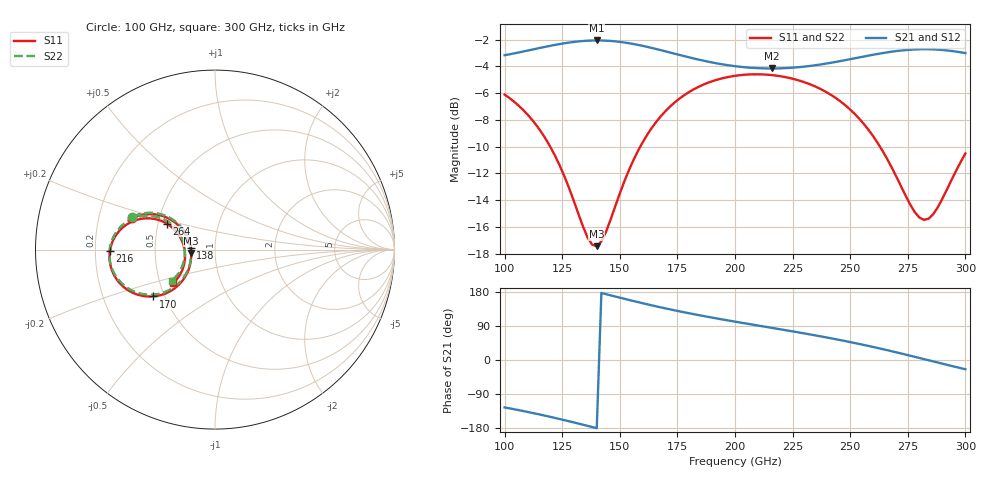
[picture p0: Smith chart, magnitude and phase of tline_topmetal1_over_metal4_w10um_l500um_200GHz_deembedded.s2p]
! Created with skrf 2.0.1 (http://scikit-rf.org).
# GHz S DB R 50.0
!freq dBS11 angS11 dBS21 angS21 dBS12 angS12 dBS22 angS22
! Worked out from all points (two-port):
!   101 points, 100 GHz to 300 GHz, reference 50 ohm
!   highest |S21| = -2.05 dB at 140 GHz (marker M1); lowest = -4.1 dB at 216 GHz (marker M2)
!   |S21| within 3 dB of the highest: start of sweep to end of sweep
!   lowest |S11| = -17.4 dB at 140 GHz (marker M3), VSWR 1.31, Z = 38.2 - j1.42 ohm
!   |S11| at or under -10 dB: 119.8 GHz to 158.9 GHz (39.09 GHz wide, 28.1 % of centre); 262.9 GHz to end of sweep
!   |S22| runs from -17.5 to -4.6 dB; largest |S21 - S12| = 7.8e-14
!   S11 on the Smith chart (normalised r, x): 100 GHz: 0.35, +0.16; 138 GHz: 0.76, +0.01; 170 GHz: 0.43, -0.28; 216 GHz: 0.26, -0.01; 264 GHz: 0.56, +0.18; 300 GHz: 0.59, -0.24
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100  -6.10 159.2  -3.16 -125.1  -3.16 -125.1  -6.11 158.3
118  -9.47 146.9  -2.52 -147.5  -2.52 -147.5  -9.48 145.7
126  -12.24 146.5  -2.26 -158.8  -2.26 -158.8  -12.26 145.2
134  -15.97 159.9  -2.09 -170.7  -2.09 -170.7  -16.00 158.5
138  -17.33 177.1  -2.06 -176.9  -2.06 -176.9  -17.37 175.8
140  -17.45 -172.2  -2.05 -180.0  -2.05 -180.0  -17.49 -173.5
144  -16.38 -153.2  -2.07 173.8  -2.07 173.8  -16.41 -154.5
152  -12.59 -137.0  -2.20 161.5  -2.20 161.5  -12.60 -138.3
160  -9.65 -136.7  -2.46 149.7  -2.46 149.7  -9.66 -138.1
168  -7.69 -141.3  -2.79 138.6  -2.79 138.6  -7.69 -142.8
170  -7.31 -142.8  -2.87 136.0  -2.87 136.0  -7.32 -144.3
184  -5.54 -154.0  -3.48 118.7  -3.48 118.7  -5.54 -155.7
200  -4.70 -166.8  -3.98 101.2  -3.98 101.2  -4.70 -168.7
216  -4.64 -179.1  -4.15 84.8  -4.15 84.8  -4.65 178.9
234  -5.43 167.6  -3.93 65.9  -3.93 65.9  -5.44 165.4
250  -7.22 156.6  -3.45 47.3  -3.45 47.3  -7.23 154.2
264  -10.30 151.7  -3.00 28.8  -3.00 28.8  -10.30 149.2
268  -11.55 152.9  -2.89 23.2  -2.89 23.2  -11.55 150.5
278  -14.89 170.0  -2.73 8.4  -2.73 8.4  -14.88 167.4
282  -15.48 -176.1  -2.71 2.4  -2.71 2.4  -15.47 -178.8
288  -14.54 -155.8  -2.74 -6.7  -2.74 -6.7  -14.54 -158.6
300  -10.51 -141.3  -3.00 -24.4  -3.00 -24.4  -10.51 -144.2
